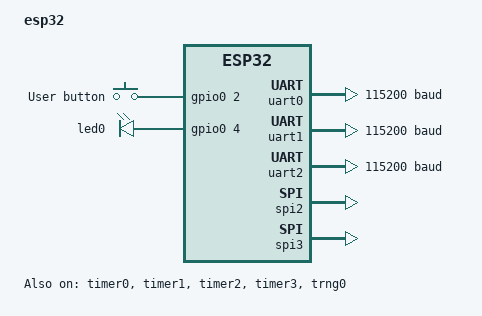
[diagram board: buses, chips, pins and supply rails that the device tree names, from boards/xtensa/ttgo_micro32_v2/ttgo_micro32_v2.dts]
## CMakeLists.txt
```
# SPDX-License-Identifier: Apache-2.0

cmake_minimum_required(VERSION 3.25.1)

list(APPEND BOARD_ROOT ${CMAKE_CURRENT_SOURCE_DIR})

find_package(Zephyr REQUIRED HINTS $ENV{ZEPHYR_BASE})

project(peripheral_hids)

set(app_sources
    src/main.c
    src/hog.c
)

target_sources(app PRIVATE
    ${app_sources}
)
```

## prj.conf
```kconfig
# Increased stack due to settings API usage
CONFIG_SYSTEM_WORKQUEUE_STACK_SIZE=2048

CONFIG_BT=y
CONFIG_BT_DEBUG_LOG=y
CONFIG_BT_SMP=y
CONFIG_BT_PERIPHERAL=y
CONFIG_BT_DIS=y
CONFIG_BT_BAS=y
CONFIG_BT_DEVICE_NAME="kbdkid3"
CONFIG_BT_DEVICE_APPEARANCE=962

CONFIG_BT_SETTINGS=y
CONFIG_FLASH=y
CONFIG_FLASH_PAGE_LAYOUT=y
CONFIG_FLASH_MAP=y
CONFIG_NVS=y
CONFIG_SETTINGS=y

# CONFIG_BT_DEBUG_KEYS=y
CONFIG_BT_MAX_PAIRED=5
```

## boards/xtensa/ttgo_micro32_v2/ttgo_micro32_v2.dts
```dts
/*
 * Copyright (c) 2019 Intel Corporation.
 *
 * SPDX-License-Identifier: Apache-2.0
 */
/dts-v1/;

#include <espressif/esp32.dtsi>
#include "ttgo_micro32_v2-pinctrl.dtsi"

/ {
	model = "esp32";
	compatible = "espressif,esp32";

	aliases {
		uart-0 = &uart0;
		i2c-0 = &i2c0;
		sw0 = &button0;
   		led0 = &led0;
	};

	chosen {
		zephyr,sram = &sram0;
		zephyr,console = &uart0;
		zephyr,shell-uart = &uart0;
		zephyr,flash = &flash0;
	};

	buttons {
		compatible = "gpio-keys";
		button0: button_0 {
			gpios = <&gpio0 2 0>;
			label = "User button";
		};
	};

	leds {
		compatible = "gpio-leds";
		led0: led_0 {
			gpios = <&gpio0 4 0>;
		};
	};
};

&cpu0 {
	clock-frequency = <ESP32_CLK_CPU_240M>;
};

&cpu1 {
	clock-frequency = <ESP32_CLK_CPU_240M>;
};

&uart0 {
	status = "okay";
	current-speed = <115200>;
	pinctrl-0 = <&uart0_default>;
	pinctrl-names = "default";
};

&uart1 {
	current-speed = <115200>;
	pinctrl-0 = <&uart1_default>;
	pinctrl-names = "default";
};

&uart2 {
	current-speed = <115200>;
	pinctrl-0 = <&uart2_default>;
	pinctrl-names = "default";
};

&gpio0 {
	status = "okay";
};

&gpio1 {
	status = "okay";
};

// &i2c0 {
// 	status = "okay";
// 	clock-frequency = <I2C_BITRATE_STANDARD>;
// 	sda-pin = <21>;
// 	scl-pin = <22>;
// 	pinctrl-0 = <&i2c0_default>;
// 	pinctrl-names = "default";
// };

&spi2 {
	#address-cells = <1>;
	#size-cells = <0>;
	status = "okay";
	pinctrl-0 = <&spim2_default>;
	pinctrl-names = "default";
};

&spi3 {
	#address-cells = <1>;
	#size-cells = <0>;
	status = "okay";
	pinctrl-0 = <&spim3_default>;
	pinctrl-names = "default";
};

&timer0 {
	status = "okay";
};

&timer1 {
	status = "okay";
};

&timer2 {
	status = "okay";
};

&timer3 {
	status = "okay";
};

&trng0 {
	status = "okay";
};

&flash0 {
	status = "okay";
	partitions {
		compatible = "fixed-partitions";
		#address-cells = <1>;
		#size-cells = <1>;

		/* Reserve 60kB for the bootloader */
		boot_partition: partition@1000 {
			label = "mcuboot";
			reg = <0x00001000 0x0000F000>;
			read-only;
		};

		/* Reserve 1024kB for the application in slot 0 */
		slot0_partition: partition@10000 {
			label = "image-0";
			reg = <0x00010000 0x00100000>;
		};

		/* Reserve 1024kB for the application in slot 1 */
		slot1_partition: partition@110000 {
			label = "image-1";
			reg = <0x00110000 0x00100000>;
		};

		/* Reserve 256kB for the scratch partition */
		scratch_partition: partition@210000 {
			   label = "image-scratch";
			   reg = <0x00210000 0x00040000>;
		};

		storage_partition: partition@250000 {
			label = "storage";
			reg = <0x00250000 0x00006000>;
		};
	};
};
```

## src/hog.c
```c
/** @file
 *  @brief HoG Service sample
 */

/*
 * Copyright (c) 2016 Intel Corporation
 *
 * SPDX-License-Identifier: Apache-2.0
 */

#include <errno.h>
#include <stddef.h>
#include <string.h>
#include <zephyr/sys/byteorder.h>
#include <zephyr/sys/printk.h>
#include <zephyr/types.h>
#include <zephyr/zephyr.h>

#include <zephyr/bluetooth/bluetooth.h>
#include <zephyr/bluetooth/conn.h>
#include <zephyr/bluetooth/gatt.h>
#include <zephyr/bluetooth/hci.h>
#include <zephyr/bluetooth/uuid.h>

enum {
	HIDS_REMOTE_WAKE = BIT(0),
	HIDS_NORMALLY_CONNECTABLE = BIT(1),
};

struct hids_info {
	uint16_t version; /* version number of base USB HID Specification */
	uint8_t code; /* country HID Device hardware is localized for. */
	uint8_t flags;
} __packed;

struct hids_report {
	uint8_t id; /* report id */
	uint8_t type; /* report type */
} __packed;

static struct hids_info info = {
	.version = 0x0000,
	.code = 0x00,
	.flags = HIDS_NORMALLY_CONNECTABLE,
};

enum {
	HIDS_INPUT = 0x01,
	HIDS_OUTPUT = 0x02,
	HIDS_FEATURE = 0x03,
};

static struct hids_report input = {
	.id = 0x01,
	.type = HIDS_INPUT,
};

static uint8_t simulate_input;
static uint8_t ctrl_point;
static uint8_t report_map[] = {
	0x05, 0x01, /* Usage Page (Generic Desktop Ctrls) */
	0x09, 0x02, /* Usage (Mouse) */
	0xA1, 0x01, /* Collection (Application) */
	0x09, 0x01, /*   Usage (Pointer) */
	0xA1, 0x00, /*   Collection (Physical) */
	0x05, 0x09, /*     Usage Page (Button) */
	0x19, 0x01, /*     Usage Minimum (0x01) */
	0x29, 0x03, /*     Usage Maximum (0x03) */
	0x15, 0x00, /*     Logical Minimum (0) */
	0x25, 0x01, /*     Logical Maximum (1) */
	0x95, 0x03, /*     Report Count (3) */
	0x75, 0x01, /*     Report Size (1) */
	0x81, 0x02, /*     Input (Data,Var,Abs,No Wrap,Linear,...) */
	0x95, 0x01, /*     Report Count (1) */
	0x75, 0x05, /*     Report Size (5) */
	0x81, 0x03, /*     Input (Const,Var,Abs,No Wrap,Linear,...) */
	0x05, 0x01, /*     Usage Page (Generic Desktop Ctrls) */
	0x09, 0x30, /*     Usage (X) */
	0x09, 0x31, /*     Usage (Y) */
	0x15, 0x81, /*     Logical Minimum (129) */
	0x25, 0x7F, /*     Logical Maximum (127) */
	0x75, 0x08, /*     Report Size (8) */
	0x95, 0x02, /*     Report Count (2) */
	0x81, 0x06, /*     Input (Data,Var,Rel,No Wrap,Linear,...) */
	0xC0, /*   End Collection */
	0xC0, /* End Collection */
};

static ssize_t read_info(struct bt_conn *conn, const struct bt_gatt_attr *attr,
			 void *buf, uint16_t len, uint16_t offset)
{
	return bt_gatt_attr_read(conn, attr, buf, len, offset, attr->user_data,
				 sizeof(struct hids_info));
}

static ssize_t read_report_map(struct bt_conn *conn,
			       const struct bt_gatt_attr *attr, void *buf,
			       uint16_t len, uint16_t offset)
{
	return bt_gatt_attr_read(conn, attr, buf, len, offset, report_map,
				 sizeof(report_map));
}

static ssize_t read_report(struct bt_conn *conn,
			   const struct bt_gatt_attr *attr, void *buf,
			   uint16_t len, uint16_t offset)
{
	return bt_gatt_attr_read(conn, attr, buf, len, offset, attr->user_data,
				 sizeof(struct hids_report));
}

static void input_ccc_changed(const struct bt_gatt_attr *attr, uint16_t value)
{
	simulate_input = (value == BT_GATT_CCC_NOTIFY) ? 1 : 0;
}

static ssize_t read_input_report(struct bt_conn *conn,
				 const struct bt_gatt_attr *attr, void *buf,
				 uint16_t len, uint16_t offset)
{
	return bt_gatt_attr_read(conn, attr, buf, len, offset, NULL, 0);
}

static ssize_t write_ctrl_point(struct bt_conn *conn,
				const struct bt_gatt_attr *attr,
				const void *buf, uint16_t len, uint16_t offset,
				uint8_t flags)
{
	uint8_t *value = attr->user_data;

	if (offset + len > sizeof(ctrl_point)) {
		return BT_GATT_ERR(BT_ATT_ERR_INVALID_OFFSET);
	}

	memcpy(value + offset, buf, len);

	return len;
}

/* HID Service Declaration */
BT_GATT_SERVICE_DEFINE(
	hog_svc, BT_GATT_PRIMARY_SERVICE(BT_UUID_HIDS),
	BT_GATT_CHARACTERISTIC(BT_UUID_HIDS_INFO, BT_GATT_CHRC_READ,
			       BT_GATT_PERM_READ, read_info, NULL, &info),
	BT_GATT_CHARACTERISTIC(BT_UUID_HIDS_REPORT_MAP, BT_GATT_CHRC_READ,
			       BT_GATT_PERM_READ, read_report_map, NULL, NULL),
	BT_GATT_CHARACTERISTIC(BT_UUID_HIDS_REPORT,
			       BT_GATT_CHRC_READ | BT_GATT_CHRC_NOTIFY,
			       BT_GATT_PERM_READ_AUTHEN, read_input_report,
			       NULL, NULL),
	BT_GATT_CCC(input_ccc_changed,
		    BT_GATT_PERM_READ_AUTHEN | BT_GATT_PERM_WRITE_AUTHEN),
	BT_GATT_DESCRIPTOR(BT_UUID_HIDS_REPORT_REF, BT_GATT_PERM_READ,
			   read_report, NULL, &input),
	BT_GATT_CHARACTERISTIC(BT_UUID_HIDS_CTRL_POINT,
			       BT_GATT_CHRC_WRITE_WITHOUT_RESP,
			       BT_GATT_PERM_WRITE, NULL, write_ctrl_point,
			       &ctrl_point), );

void hog_init(void)
{
}
```
